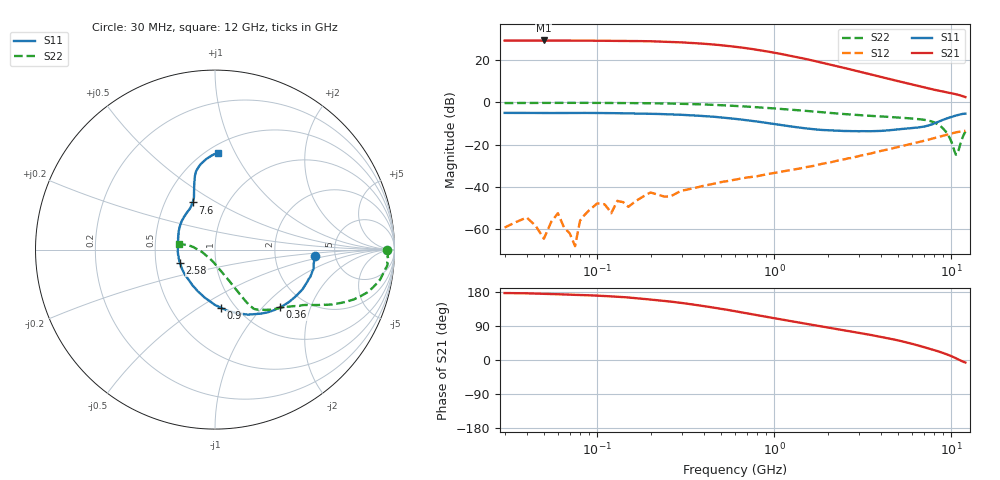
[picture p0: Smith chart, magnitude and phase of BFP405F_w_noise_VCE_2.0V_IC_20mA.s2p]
! Infineon Technologies  Discrete & RF Semiconductors
! BFP405F
! VCE =  2.0 V,  IC =  20 mA
! Common Emitter S-Parameters:  Nov 2015
# GHz  S  MA  R  50
!  f  S11  S21  S12  S22
! GHz  MAG  ANG  MAG  ANG  MAG  ANG  MAG  ANG
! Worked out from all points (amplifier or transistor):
!   239 points, 30 MHz to 12 GHz, reference 50 ohm
!   highest |S21| = 29.2 dB at 50 MHz (marker M1)
!   |S21| within 3 dB of that: start of sweep to 603.7 MHz
!   unconditionally stable (mu >= 1): 46.56 MHz to 55.83 MHz; 62.31 MHz to 77.41 MHz; 1.546 GHz to end of sweep
!   at 300 MHz: K = 0.38, MSG = 35.0 dB, |S12| = -41.7 dB
!   at 1.88 GHz: K = 1.10, MAG = 21.9 dB, |S12| = -29.0 dB
!   at 12 GHz: K = 1.40, MAG = 4.2 dB, |S12| = -13.4 dB
!   lowest NFmin = 2.24 dB at 450 MHz
!   S11 on the Smith chart (normalised r, x): 30 MHz: 3.51, -0.34; 360 MHz: 1.50, -1.26; 900 MHz: 0.86, -0.62; 2.58 GHz: 0.67, -0.11; 7.6 GHz: 0.69, +0.39; 12 GHz: 0.57, +0.86
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0.03  0.56 -3.4  28.47 176.7  0.0011 86.1  0.9562 -0.2
0.04  0.5607 -4.6  28.53 176.0  0.0019 89.1  0.9634 -0.7
0.05  0.5561 -6.5  28.72 174.6  0.0006 35.7  0.9657 -1.4
0.06  0.5558 -7.3  28.5 173.7  0.0024 25.1  0.964 -1.8
0.075  0.5567 -9.1  28.4 171.9  0.0004 65.5  0.9635 -2.6
0.085  0.5587 -10.5  28.38 171.1  0.0022 82.9  0.966 -3.0
0.15  0.5454 -18.9  27.99 164.9  0.0034 68.7  0.9571 -6.2
0.2  0.5354 -24.4  27.5 159.5  0.0074 83.6  0.9456 -8.3
0.24  0.5227 -28.9  26.78 155.9  0.0059 82.5  0.937 -9.9
0.3  0.5049 -35.4  25.87 150.4  0.0082 73.1  0.9177 -12.1
0.36  0.4849 -41.6  24.75 145.4  0.0096 75.7  0.8996 -14.0
0.45  0.4561 -50.1  23.12 138.5  0.0118 72.9  0.8687 -16.6
0.6  0.406 -63.2  20.4 128.6  0.0149 71.3  0.8191 -19.9
0.7  0.3763 -70.4  18.81 123.2  0.0167 70.4  0.7898 -21.5
0.9  0.3263 -84.1  15.97 114.0  0.0199 69.7  0.7366 -24.2
1.28  0.2632 -106.1  12.1 101.3  0.0256 69.8  0.6604 -27.8
1.64  0.2328 -123.6  9.691 92.9  0.0311 70.3  0.6083 -30.5
2.58  0.2087 -158.6  6.208 77.2  0.0469 68.4  0.5191 -37.8
4.5  0.2192 159.4  3.499 56.4  0.0794 62.8  0.4501 -48.2
7.6  0.2909 115.3  2.072 29.4  0.1342 49.5  0.3595 -58.4
10.6  0.484 99.3  1.547 4.8  0.1944 32.1  0.0577 -119.9
12  0.5378 88.2  1.324 -6.7  0.213 23.9  0.2035 170.9
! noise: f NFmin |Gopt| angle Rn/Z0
0.45  2.24  0.02  -18  0.47
0.9  2.25  0.01  -90  0.3
1.5  2.31  0.03  -114  0.38
1.9  2.38  0.04  -120  0.52
2.4  2.53  0.05  -120  0.18
3  2.62  0.07  -120  0.16
3.5  2.7  0.09  -118  0.22
4.5  2.94  0.14  -105  0.5
5.5  3.27  0.24  -88  0.52
